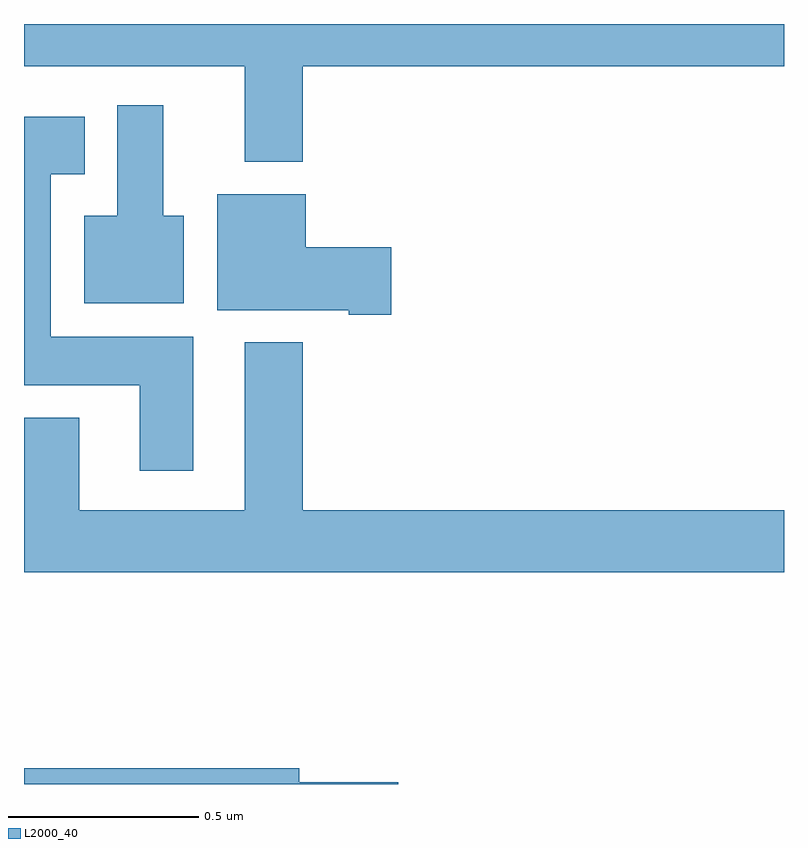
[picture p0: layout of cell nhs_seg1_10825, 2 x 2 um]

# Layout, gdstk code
import gdstk
lib = gdstk.Library(unit=1e-6, precision=1e-09)
def P(c, l, *ps):  # polygons
    for p in ps: c.add(gdstk.Polygon(p, *l))
L2000_40 = (2000, 40)

nhs_seg1_10825 = lib.new_cell('nhs_seg1_10825')
P(nhs_seg1_10825, L2000_40, [(246.734,529.088),(248,529.088),(248,529.199),(246,529.199),(246,529.088),(246.581,529.088),(246.581,528.836),(246.734,528.836)],
  [(246.421,528.694),(246.367,528.694),(246.367,528.985),(246.245,528.985),(246.245,528.694),(246.158,528.694),(246.158,528.464),(246.421,528.464)],
  [(246.445,528.376),(246.07,528.376),(246.07,528.803),(246.16,528.803),(246.16,528.955),(246,528.955),(246,528.248),(246.305,528.248),(246.305,528.024),(246.445,528.024)],
  [(246.967,528.612),(246.742,528.612),(246.742,528.751),(246.509,528.751),(246.509,528.446),(246.854,528.446),(246.854,528.434),(246.967,528.434)],
  [(248,527.92),(246.734,527.92),(246.734,528.361),(246.581,528.361),(246.581,527.92),(246.145,527.92),(246.145,528.163),(246,528.163),(246,527.756),(248,527.756)],
  [(246.985,527.204),(246.724,527.204),(246.724,527.24),(246,527.24),(246,527.199),(246.985,527.199)])

lib.write_gds('nhs_seg1_10825.gds')
